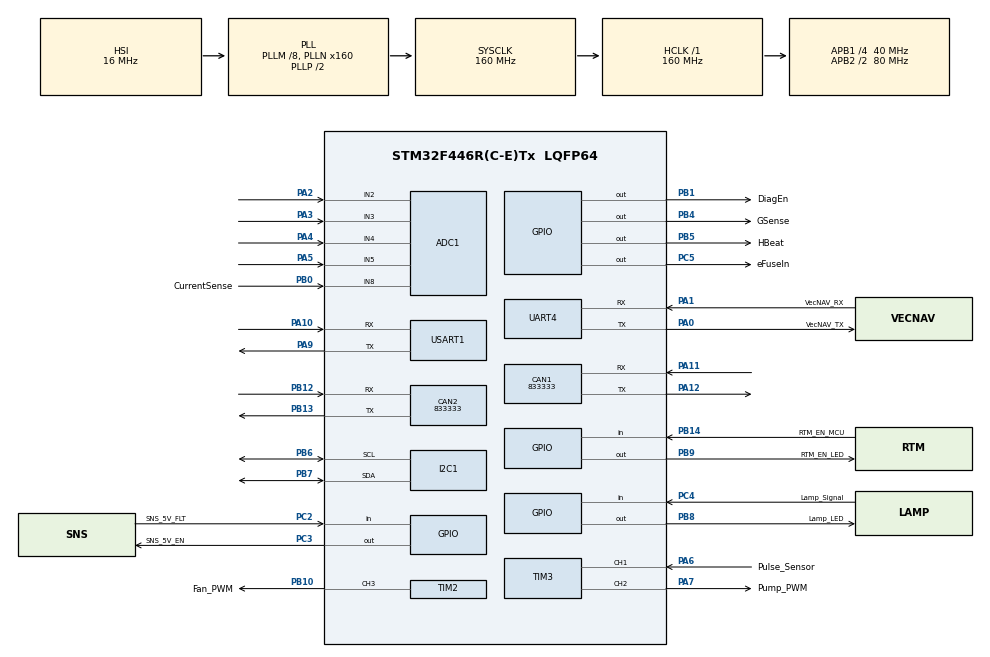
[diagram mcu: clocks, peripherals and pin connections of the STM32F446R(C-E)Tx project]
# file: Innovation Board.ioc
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ADC1.Channel-0\#ChannelRegularConversion=ADC_CHANNEL_8
ADC1.ClockPrescaler=ADC_CLOCK_SYNC_PCLK_DIV6
ADC1.ContinuousConvMode=ENABLE
ADC1.DMAContinuousRequests=ENABLE
ADC1.ExternalTrigConv=ADC_SOFTWARE_START
ADC1.InjNumberOfConversion=0
ADC1.NbrOfConversion=1
ADC1.NbrOfConversionFlag=1
ADC1.Rank-0\#ChannelRegularConversion=1
ADC1.SamplingTime-0\#ChannelRegularConversion=ADC_SAMPLETIME_480CYCLES
ADC1.ScanConvMode=DISABLE
ADC1.master=1
CAN1.BS1=CAN_BS1_1TQ
CAN1.BS2=CAN_BS2_1TQ
CAN1.CalculateBaudRate=833333
CAN1.CalculateTimeBit=1200
CAN1.CalculateTimeQuantum=400.0
CAN2.BS1=CAN_BS1_1TQ
CAN2.BS2=CAN_BS2_1TQ
CAN2.CalculateBaudRate=833333
CAN2.CalculateTimeBit=1200
CAN2.CalculateTimeQuantum=400.0
Dma.ADC1.1.Direction=DMA_PERIPH_TO_MEMORY
Dma.ADC1.1.FIFOMode=DMA_FIFOMODE_DISABLE
Dma.ADC1.1.Instance=DMA2_Stream0
Dma.ADC1.1.MemDataAlignment=DMA_MDATAALIGN_HALFWORD
Dma.ADC1.1.MemInc=DMA_MINC_ENABLE
Dma.ADC1.1.Mode=DMA_CIRCULAR
Dma.ADC1.1.PeriphDataAlignment=DMA_PDATAALIGN_HALFWORD
Dma.ADC1.1.PeriphInc=DMA_PINC_DISABLE
Dma.ADC1.1.Priority=DMA_PRIORITY_LOW
Dma.Request0=TIM3_CH1/TRIG
Dma.Request1=ADC1
Dma.TIM3_CH1/TRIG.0.Direction=DMA_PERIPH_TO_MEMORY
Dma.TIM3_CH1/TRIG.0.FIFOMode=DMA_FIFOMODE_DISABLE
Dma.TIM3_CH1/TRIG.0.Instance=DMA1_Stream4
Dma.TIM3_CH1/TRIG.0.MemDataAlignment=DMA_MDATAALIGN_HALFWORD
Dma.TIM3_CH1/TRIG.0.MemInc=DMA_MINC_ENABLE
Dma.TIM3_CH1/TRIG.0.Mode=DMA_CIRCULAR
Dma.TIM3_CH1/TRIG.0.PeriphDataAlignment=DMA_PDATAALIGN_HALFWORD
Dma.TIM3_CH1/TRIG.0.PeriphInc=DMA_PINC_DISABLE
Dma.TIM3_CH1/TRIG.0.Priority=DMA_PRIORITY_LOW
Mcu.Family=STM32F4
Mcu.Name=STM32F446R(C-E)Tx
Mcu.Package=LQFP64
NVIC.DMA1_Stream4_IRQn=true\:0\:0\:false\:false\:true\:false\:true\:true
NVIC.DMA2_Stream0_IRQn=true\:0\:0\:false\:false\:true\:false\:true\:true
NVIC.PriorityGroup=NVIC_PRIORITYGROUP_4
PA0-WKUP.GPIO_Label=VecNAV_TX
PA0-WKUP.Mode=Asynchronous
PA0-WKUP.Signal=UART4_TX
PA1.GPIO_Label=VecNAV_RX
PA1.Mode=Asynchronous
PA1.Signal=UART4_RX
PA10.Mode=Asynchronous
PA10.Signal=USART1_RX
PA11.Mode=CAN_Activate
PA11.Signal=CAN1_RX
PA12.Mode=CAN_Activate
PA12.Signal=CAN1_TX
PA13.Mode=Trace_Asynchronous_SW
PA13.Signal=SYS_JTMS-SWDIO
PA14.Mode=Trace_Asynchronous_SW
PA14.Signal=SYS_JTCK-SWCLK
PA2.Signal=ADCx_IN2
PA3.Signal=ADCx_IN3
PA4.Signal=ADCx_IN4
PA5.Signal=ADCx_IN5
PA6.GPIO_Label=Pulse_Sensor
PA6.Signal=S_TIM3_CH1
PA7.GPIO_Label=Pump_PWM
PA7.Signal=S_TIM3_CH2
PA9.Mode=Asynchronous
PA9.Signal=USART1_TX
PB0.GPIO_Label=CurrentSense
PB0.Signal=ADCx_IN8
PB1.GPIO_Label=DiagEn
PB1.Signal=GPIO_Output
PB10.GPIO_Label=Fan_PWM
PB10.Signal=S_TIM2_CH3
PB12.Mode=CAN_Activate
PB12.Signal=CAN2_RX
PB13.Mode=CAN_Activate
PB13.Signal=CAN2_TX
PB14.GPIO_Label=RTM_EN_MCU
PB14.Signal=GPIO_Input
PB3.Mode=Trace_Asynchronous_SW
PB3.Signal=SYS_JTDO-SWO
PB4.GPIO_Label=GSense
PB4.Signal=GPIO_Output
PB5.GPIO_Label=HBeat
PB5.Signal=GPIO_Output
PB6.Mode=I2C
PB6.Signal=I2C1_SCL
PB7.Mode=I2C
PB7.Signal=I2C1_SDA
PB8.GPIO_Label=Lamp_LED
PB8.Signal=GPIO_Output
PB9.GPIO_Label=RTM_EN_LED
PB9.Signal=GPIO_Output
PC10.Signal=SDIO_D2
PC12.Signal=SDIO_CK
PC14-OSC32_IN.Signal=RCC_OSC32_IN
PC2.GPIO_Label=SNS_5V_FLT
PC2.Signal=GPIO_Input
PC3.GPIO_Label=SNS_5V_EN
PC3.Signal=GPIO_Output
PC4.GPIO_Label=Lamp_Signal
PC4.Signal=GPIO_Input
PC5.GPIO_Label=eFuseIn
PC5.Signal=GPIO_Output
PC9.Signal=SDIO_D1
PH0-OSC_IN.Mode=HSE-External-Oscillator
PH0-OSC_IN.Signal=RCC_OSC_IN
PH1-OSC_OUT.Mode=HSE-External-Oscillator
PH1-OSC_OUT.Signal=RCC_OSC_OUT
ProjectManager.HeapSize=0x200
ProjectManager.StackSize=0x400
ProjectManager.TargetToolchain=STM32CubeIDE
RCC.AHBFreq_Value=160000000
RCC.APB1CLKDivider=RCC_HCLK_DIV4
RCC.APB1Freq_Value=40000000
RCC.APB1TimFreq_Value=80000000
RCC.APB2CLKDivider=RCC_HCLK_DIV2
RCC.APB2Freq_Value=80000000
RCC.APB2TimFreq_Value=160000000
RCC.CortexFreq_Value=160000000
RCC.HCLKFreq_Value=160000000
RCC.HSE_VALUE=24000000
RCC.PLLM=8
RCC.PLLN=160
RCC.PLLQ=7
RCC.SYSCLKFreq_VALUE=160000000
RCC.SYSCLKSource=RCC_SYSCLKSOURCE_PLLCLK
RCC.USBFreq_Value=45714285.71428572
RCC.VCOOutputFreq_Value=320000000
SH.ADCx_IN2.0=ADC1_IN2,IN2
SH.ADCx_IN3.0=ADC1_IN3,IN3
SH.ADCx_IN4.0=ADC1_IN4,IN4
SH.ADCx_IN5.0=ADC1_IN5,IN5
SH.ADCx_IN8.0=ADC1_IN8,IN8
SH.S_TIM2_CH3.0=TIM2_CH3,PWM Generation3 CH3
SH.S_TIM3_CH1.0=TIM3_CH1,Input_Capture1_from_TI1
SH.S_TIM3_CH2.0=TIM3_CH2,PWM Generation2 CH2
TIM2.Channel-PWM\ Generation3\ CH3=TIM_CHANNEL_3
TIM2.Period=999
TIM2.Prescaler=79
TIM2.TIM_MasterOutputTrigger=TIM_TRGO_UPDATE
TIM3.Channel-Input_Capture1_from_TI1=TIM_CHANNEL_1
TIM3.Channel-PWM\ Generation2\ CH2=TIM_CHANNEL_2
UART4.VirtualMode=Asynchronous
USART1.VirtualMode=VM_ASYNC
VP_TIM13_VS_ClockSourceINT.Mode=Enable_Timer
VP_TIM1_VS_ClockSourceITR.Mode=TriggerSource_ITR0
VP_TIM1_VS_ControllerModeClock.Mode=Clock Mode
VP_TIM2_VS_ClockSourceITR.Mode=TriggerSource_ITR0
VP_TIM2_VS_ControllerModeClock.Mode=Clock Mode
VP_TIM3_VS_ClockSourceINT.Mode=Internal
VP_TIM8_VS_ClockSourceINT.Mode=Internal
board=custom

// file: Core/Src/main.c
/* USER CODE BEGIN Header */
/**
  ******************************************************************************
  * @file           : main.c
  * @brief          : Main program body
  ******************************************************************************
  * @attention
  *
  * Copyright (c) 2025 STMicroelectronics.
  * All rights reserved.
  *
  * This software is licensed under terms that can be found in the LICENSE file
  * in the root directory of this software component.
  * If no LICENSE file comes with this software, it is provided AS-IS.
  *
  ******************************************************************************
  */
/* USER CODE END Header */
#include "main.h"

/* USER CODE BEGIN Includes */
#include "eFuse.h"
#include <stdint.h>
/* USER CODE END Includes */

/* USER CODE BEGIN PD */
#define EFUSE_TASK_PERIOD_MS 10
/* USER CODE END PD */

ADC_HandleTypeDef hadc1;
DMA_HandleTypeDef hdma_adc1;

CAN_HandleTypeDef hcan1;
CAN_HandleTypeDef hcan2;

I2C_HandleTypeDef hi2c1;

TIM_HandleTypeDef htim1;
TIM_HandleTypeDef htim2;
TIM_HandleTypeDef htim3;
TIM_HandleTypeDef htim8;
TIM_HandleTypeDef htim13;
DMA_HandleTypeDef hdma_tim3_ch1_trig;

UART_HandleTypeDef huart4;
UART_HandleTypeDef huart1;

/* USER CODE BEGIN PV */
volatile uint8_t eFuseEnable = 1;
/* USER CODE END PV */

void SystemClock_Config(void);
static void MX_GPIO_Init(void);
static void MX_DMA_Init(void);
static void MX_CAN1_Init(void);
static void MX_CAN2_Init(void);
static void MX_UART4_Init(void);
static void MX_USART1_UART_Init(void);
static void MX_ADC1_Init(void);
static void MX_I2C1_Init(void);
static void MX_TIM1_Init(void);
static void MX_TIM2_Init(void);
static void MX_TIM3_Init(void);
static void MX_TIM8_Init(void);
static void MX_TIM13_Init(void);

int main(void)
{

  /* MCU Configuration--------------------------------------------------------*/

  /* Reset of all peripherals, Initializes the Flash interface and the Systick. */
  HAL_Init();

  /* Configure the system clock */
  SystemClock_Config();

  /* Initialize all configured peripherals */
  MX_GPIO_Init();
  MX_DMA_Init();
  MX_CAN1_Init();
  MX_CAN2_Init();
  MX_UART4_Init();
  MX_USART1_UART_Init();
  MX_ADC1_Init();
  MX_I2C1_Init();
  MX_TIM1_Init();
  MX_TIM2_Init();
  MX_TIM3_Init();
  MX_TIM8_Init();
  MX_TIM13_Init();
  /* USER CODE BEGIN 2 */
  unsigned int last_led = 0;
  uint16_t last_eFuse = 0;
  initeFuseTask();
  HAL_GPIO_WritePin(eFuseIn_GPIO_Port, eFuseIn_Pin, 1);
  HAL_GPIO_WritePin(DiagEn_GPIO_Port, DiagEn_Pin, 1);
  /* USER CODE END 2 */

  /* Infinite loop */
  /* USER CODE BEGIN WHILE */
  while (1)
  {
	  uint32_t now = HAL_GetTick();

	  if(now - last_led >= 500) {
	  		HAL_GPIO_TogglePin(HBeat_GPIO_Port, HBeat_Pin);
	  		last_led = HAL_GetTick();
	  	}

	  if(now - last_eFuse >= EFUSE_TASK_PERIOD_MS){
		  last_eFuse = now;
		  HAL_GPIO_WritePin(eFuseIn_GPIO_Port, eFuseIn_Pin, eFuseEnable);
		  eFuseTask();
	  }
    /* USER CODE END WHILE */

  }
}

void SystemClock_Config(void)
{
  RCC_OscInitTypeDef RCC_OscInitStruct = {0};
  RCC_ClkInitTypeDef RCC_ClkInitStruct = {0};

  /** Configure the main internal regulator output voltage
  */
  __HAL_RCC_PWR_CLK_ENABLE();
  __HAL_PWR_VOLTAGESCALING_CONFIG(PWR_REGULATOR_VOLTAGE_SCALE1);

  /** Initializes the RCC Oscillators according to the specified parameters
  * in the RCC_OscInitTypeDef structure.
  */
  RCC_OscInitStruct.OscillatorType = RCC_OSCILLATORTYPE_HSI;
  RCC_OscInitStruct.HSIState = RCC_HSI_ON;
  RCC_OscInitStruct.HSICalibrationValue = RCC_HSICALIBRATION_DEFAULT;
  RCC_OscInitStruct.PLL.PLLState = RCC_PLL_ON;
  RCC_OscInitStruct.PLL.PLLSource = RCC_PLLSOURCE_HSI;
  RCC_OscInitStruct.PLL.PLLM = 8;
  RCC_OscInitStruct.PLL.PLLN = 160;
  RCC_OscInitStruct.PLL.PLLP = RCC_PLLP_DIV2;
  RCC_OscInitStruct.PLL.PLLQ = 7;
  RCC_OscInitStruct.PLL.PLLR = 2;
  if (HAL_RCC_OscConfig(&RCC_OscInitStruct) != HAL_OK)
  {
    Error_Handler();
  }

  /** Initializes the CPU, AHB and APB buses clocks
  */
  RCC_ClkInitStruct.ClockType = RCC_CLOCKTYPE_HCLK|RCC_CLOCKTYPE_SYSCLK
                              |RCC_CLOCKTYPE_PCLK1|RCC_CLOCKTYPE_PCLK2;
  RCC_ClkInitStruct.SYSCLKSource = RCC_SYSCLKSOURCE_PLLCLK;
  RCC_ClkInitStruct.AHBCLKDivider = RCC_SYSCLK_DIV1;
  RCC_ClkInitStruct.APB1CLKDivider = RCC_HCLK_DIV4;
  RCC_ClkInitStruct.APB2CLKDivider = RCC_HCLK_DIV2;

  if (HAL_RCC_ClockConfig(&RCC_ClkInitStruct, FLASH_LATENCY_5) != HAL_OK)
  {
    Error_Handler();
  }
}

static void MX_ADC1_Init(void)
{

  ADC_ChannelConfTypeDef sConfig = {0};

  /** Configure the global features of the ADC (Clock, Resolution, Data Alignment and number of conversion)
  */
  hadc1.Instance = ADC1;
  hadc1.Init.ClockPrescaler = ADC_CLOCK_SYNC_PCLK_DIV6;
  hadc1.Init.Resolution = ADC_RESOLUTION_12B;
  hadc1.Init.ScanConvMode = DISABLE;
  hadc1.Init.ContinuousConvMode = ENABLE;
  hadc1.Init.DiscontinuousConvMode = DISABLE;
  hadc1.Init.ExternalTrigConvEdge = ADC_EXTERNALTRIGCONVEDGE_NONE;
  hadc1.Init.ExternalTrigConv = ADC_SOFTWARE_START;
  hadc1.Init.DataAlign = ADC_DATAALIGN_RIGHT;
  hadc1.Init.NbrOfConversion = 1;
  hadc1.Init.DMAContinuousRequests = ENABLE;
  hadc1.Init.EOCSelection = ADC_EOC_SINGLE_CONV;
  if (HAL_ADC_Init(&hadc1) != HAL_OK)
  {
    Error_Handler();
  }

  /** Configure for the selected ADC regular channel its corresponding rank in the sequencer and its sample time.
  */
  sConfig.Channel = ADC_CHANNEL_8;
  sConfig.Rank = 1;
  sConfig.SamplingTime = ADC_SAMPLETIME_480CYCLES;
  if (HAL_ADC_ConfigChannel(&hadc1, &sConfig) != HAL_OK)
  {
    Error_Handler();
  }

}

static void MX_CAN1_Init(void)
{

  hcan1.Instance = CAN1;
  hcan1.Init.Prescaler = 16;
  hcan1.Init.Mode = CAN_MODE_NORMAL;
  hcan1.Init.SyncJumpWidth = CAN_SJW_1TQ;
  hcan1.Init.TimeSeg1 = CAN_BS1_1TQ;
  hcan1.Init.TimeSeg2 = CAN_BS2_1TQ;
  hcan1.Init.TimeTriggeredMode = DISABLE;
  hcan1.Init.AutoBusOff = DISABLE;
  hcan1.Init.AutoWakeUp = DISABLE;
  hcan1.Init.AutoRetransmission = DISABLE;
  hcan1.Init.ReceiveFifoLocked = DISABLE;
  hcan1.Init.TransmitFifoPriority = DISABLE;
  if (HAL_CAN_Init(&hcan1) != HAL_OK)
  {
    Error_Handler();
  }

}

static void MX_CAN2_Init(void)
{

  hcan2.Instance = CAN2;
  hcan2.Init.Prescaler = 16;
  hcan2.Init.Mode = CAN_MODE_NORMAL;
  hcan2.Init.SyncJumpWidth = CAN_SJW_1TQ;
  hcan2.Init.TimeSeg1 = CAN_BS1_1TQ;
  hcan2.Init.TimeSeg2 = CAN_BS2_1TQ;
  hcan2.Init.TimeTriggeredMode = DISABLE;
  hcan2.Init.AutoBusOff = DISABLE;
  hcan2.Init.AutoWakeUp = DISABLE;
  hcan2.Init.AutoRetransmission = DISABLE;
  hcan2.Init.ReceiveFifoLocked = DISABLE;
  hcan2.Init.TransmitFifoPriority = DISABLE;
  if (HAL_CAN_Init(&hcan2) != HAL_OK)
  {
    Error_Handler();
  }

}

static void MX_I2C1_Init(void)
{

  hi2c1.Instance = I2C1;
  hi2c1.Init.ClockSpeed = 100000;
  hi2c1.Init.DutyCycle = I2C_DUTYCYCLE_2;
  hi2c1.Init.OwnAddress1 = 0;
  hi2c1.Init.AddressingMode = I2C_ADDRESSINGMODE_7BIT;
  hi2c1.Init.DualAddressMode = I2C_DUALADDRESS_DISABLE;
  hi2c1.Init.OwnAddress2 = 0;
  hi2c1.Init.GeneralCallMode = I2C_GENERALCALL_DISABLE;
  hi2c1.Init.NoStretchMode = I2C_NOSTRETCH_DISABLE;
  if (HAL_I2C_Init(&hi2c1) != HAL_OK)
  {
    Error_Handler();
  }

}

static void MX_TIM1_Init(void)
{

  TIM_SlaveConfigTypeDef sSlaveConfig = {0};
  TIM_MasterConfigTypeDef sMasterConfig = {0};

  htim1.Instance = TIM1;
  htim1.Init.Prescaler = 0;
  htim1.Init.CounterMode = TIM_COUNTERMODE_UP;
  htim1.Init.Period = 65535;
  htim1.Init.ClockDivision = TIM_CLOCKDIVISION_DIV1;
  htim1.Init.RepetitionCounter = 0;
  htim1.Init.AutoReloadPreload = TIM_AUTORELOAD_PRELOAD_DISABLE;
  if (HAL_TIM_Base_Init(&htim1) != HAL_OK)
  {
    Error_Handler();
  }
  sSlaveConfig.SlaveMode = TIM_SLAVEMODE_EXTERNAL1;
  sSlaveConfig.InputTrigger = TIM_TS_ITR0;
  if (HAL_TIM_SlaveConfigSynchro(&htim1, &sSlaveConfig) != HAL_OK)
  {
    Error_Handler();
  }
  sMasterConfig.MasterOutputTrigger = TIM_TRGO_RESET;
  sMasterConfig.MasterSlaveMode = TIM_MASTERSLAVEMODE_DISABLE;
  if (HAL_TIMEx_MasterConfigSynchronization(&htim1, &sMasterConfig) != HAL_OK)
  {
    Error_Handler();
  }

}

static void MX_TIM2_Init(void)
{

  TIM_SlaveConfigTypeDef sSlaveConfig = {0};
  TIM_MasterConfigTypeDef sMasterConfig = {0};
  TIM_OC_InitTypeDef sConfigOC = {0};

  htim2.Instance = TIM2;
  htim2.Init.Prescaler = 79;
  htim2.Init.CounterMode = TIM_COUNTERMODE_UP;
  htim2.Init.Period = 999;
  htim2.Init.ClockDivision = TIM_CLOCKDIVISION_DIV1;
  htim2.Init.AutoReloadPreload = TIM_AUTORELOAD_PRELOAD_DISABLE;
  if (HAL_TIM_Base_Init(&htim2) != HAL_OK)
  {
    Error_Handler();
  }
  if (HAL_TIM_PWM_Init(&htim2) != HAL_OK)
  {
    Error_Handler();
  }
  sSlaveConfig.SlaveMode = TIM_SLAVEMODE_EXTERNAL1;
  sSlaveConfig.InputTrigger = TIM_TS_ITR0;
  if (HAL_TIM_SlaveConfigSynchro(&htim2, &sSlaveConfig) != HAL_OK)
  {
    Error_Handler();
  }
  sMasterConfig.MasterOutputTrigger = TIM_TRGO_UPDATE;
  sMasterConfig.MasterSlaveMode = TIM_MASTERSLAVEMODE_DISABLE;
  if (HAL_TIMEx_MasterConfigSynchronization(&htim2, &sMasterConfig) != HAL_OK)
  {
    Error_Handler();
  }
  sConfigOC.OCMode = TIM_OCMODE_PWM1;
  sConfigOC.Pulse = 0;
  sConfigOC.OCPolarity = TIM_OCPOLARITY_HIGH;
  sConfigOC.OCFastMode = TIM_OCFAST_DISABLE;
  if (HAL_TIM_PWM_ConfigChannel(&htim2, &sConfigOC, TIM_CHANNEL_3) != HAL_OK)
  {
    Error_Handler();
  }
  HAL_TIM_MspPostInit(&htim2);

}

static void MX_TIM3_Init(void)
{

  TIM_ClockConfigTypeDef sClockSourceConfig = {0};
  TIM_MasterConfigTypeDef sMasterConfig = {0};
  TIM_IC_InitTypeDef sConfigIC = {0};
  TIM_OC_InitTypeDef sConfigOC = {0};

  htim3.Instance = TIM3;
  htim3.Init.Prescaler = 0;
  htim3.Init.CounterMode = TIM_COUNTERMODE_UP;
  htim3.Init.Period = 65535;
  htim3.Init.ClockDivision = TIM_CLOCKDIVISION_DIV1;
  htim3.Init.AutoReloadPreload = TIM_AUTORELOAD_PRELOAD_DISABLE;
  if (HAL_TIM_Base_Init(&htim3) != HAL_OK)
  {
    Error_Handler();
  }
  sClockSourceConfig.ClockSource = TIM_CLOCKSOURCE_INTERNAL;
  if (HAL_TIM_ConfigClockSource(&htim3, &sClockSourceConfig) != HAL_OK)
  {
    Error_Handler();
  }
  if (HAL_TIM_IC_Init(&htim3) != HAL_OK)
  {
    Error_Handler();
  }
  if (HAL_TIM_PWM_Init(&htim3) != HAL_OK)
  {
    Error_Handler();
  }
  sMasterConfig.MasterOutputTrigger = TIM_TRGO_RESET;
  sMasterConfig.MasterSlaveMode = TIM_MASTERSLAVEMODE_DISABLE;
  if (HAL_TIMEx_MasterConfigSynchronization(&htim3, &sMasterConfig) != HAL_OK)
  {
    Error_Handler();
  }
  sConfigIC.ICPolarity = TIM_INPUTCHANNELPOLARITY_RISING;
  sConfigIC.ICSelection = TIM_ICSELECTION_DIRECTTI;
  sConfigIC.ICPrescaler = TIM_ICPSC_DIV1;
  sConfigIC.ICFilter = 0;
  if (HAL_TIM_IC_ConfigChannel(&htim3, &sConfigIC, TIM_CHANNEL_1) != HAL_OK)
  {
    Error_Handler();
  }
  sConfigOC.OCMode = TIM_OCMODE_PWM1;
  sConfigOC.Pulse = 0;
  sConfigOC.OCPolarity = TIM_OCPOLARITY_HIGH;
  sConfigOC.OCFastMode = TIM_OCFAST_DISABLE;
  if (HAL_TIM_PWM_ConfigChannel(&htim3, &sConfigOC, TIM_CHANNEL_2) != HAL_OK)
  {
    Error_Handler();
  }
  HAL_TIM_MspPostInit(&htim3);

}

static void MX_TIM8_Init(void)
{

  TIM_ClockConfigTypeDef sClockSourceConfig = {0};
  TIM_MasterConfigTypeDef sMasterConfig = {0};

  htim8.Instance = TIM8;
  htim8.Init.Prescaler = 0;
  htim8.Init.CounterMode = TIM_COUNTERMODE_UP;
  htim8.Init.Period = 65535;
  htim8.Init.ClockDivision = TIM_CLOCKDIVISION_DIV1;
  htim8.Init.RepetitionCounter = 0;
  htim8.Init.AutoReloadPreload = TIM_AUTORELOAD_PRELOAD_DISABLE;
  if (HAL_TIM_Base_Init(&htim8) != HAL_OK)
  {
    Error_Handler();
  }
  sClockSourceConfig.ClockSource = TIM_CLOCKSOURCE_INTERNAL;
  if (HAL_TIM_ConfigClockSource(&htim8, &sClockSourceConfig) != HAL_OK)
  {
    Error_Handler();
  }
  sMasterConfig.MasterOutputTrigger = TIM_TRGO_RESET;
  sMasterConfig.MasterSlaveMode = TIM_MASTERSLAVEMODE_DISABLE;
  if (HAL_TIMEx_MasterConfigSynchronization(&htim8, &sMasterConfig) != HAL_OK)
  {
    Error_Handler();
  }

}

static void MX_TIM13_Init(void)
{

  htim13.Instance = TIM13;
  htim13.Init.Prescaler = 0;
  htim13.Init.CounterMode = TIM_COUNTERMODE_UP;
  htim13.Init.Period = 65535;
  htim13.Init.ClockDivision = TIM_CLOCKDIVISION_DIV1;
  htim13.Init.AutoReloadPreload = TIM_AUTORELOAD_PRELOAD_DISABLE;
  if (HAL_TIM_Base_Init(&htim13) != HAL_OK)
  {
    Error_Handler();
  }

}

static void MX_UART4_Init(void)
{

  huart4.Instance = UART4;
  huart4.Init.BaudRate = 115200;
  huart4.Init.WordLength = UART_WORDLENGTH_8B;
  huart4.Init.StopBits = UART_STOPBITS_1;
  huart4.Init.Parity = UART_PARITY_NONE;
  huart4.Init.Mode = UART_MODE_TX_RX;
  huart4.Init.HwFlowCtl = UART_HWCONTROL_NONE;
  huart4.Init.OverSampling = UART_OVERSAMPLING_16;
  if (HAL_UART_Init(&huart4) != HAL_OK)
  {
    Error_Handler();
  }

}

static void MX_USART1_UART_Init(void)
{

  huart1.Instance = USART1;
  huart1.Init.BaudRate = 115200;
  huart1.Init.WordLength = UART_WORDLENGTH_8B;
  huart1.Init.StopBits = UART_STOPBITS_1;
  huart1.Init.Parity = UART_PARITY_NONE;
  huart1.Init.Mode = UART_MODE_TX_RX;
  huart1.Init.HwFlowCtl = UART_HWCONTROL_NONE;
  huart1.Init.OverSampling = UART_OVERSAMPLING_16;
  if (HAL_UART_Init(&huart1) != HAL_OK)
  {
    Error_Handler();
  }

}

static void MX_DMA_Init(void)
{

  /* DMA controller clock enable */
  __HAL_RCC_DMA1_CLK_ENABLE();
  __HAL_RCC_DMA2_CLK_ENABLE();

  /* DMA interrupt init */
  /* DMA1_Stream4_IRQn interrupt configuration */
  HAL_NVIC_SetPriority(DMA1_Stream4_IRQn, 0, 0);
  HAL_NVIC_EnableIRQ(DMA1_Stream4_IRQn);
  /* DMA2_Stream0_IRQn interrupt configuration */
  HAL_NVIC_SetPriority(DMA2_Stream0_IRQn, 0, 0);
  HAL_NVIC_EnableIRQ(DMA2_Stream0_IRQn);

}

static void MX_GPIO_Init(void)
{
  GPIO_InitTypeDef GPIO_InitStruct = {0};

  /* GPIO Ports Clock Enable */
  __HAL_RCC_GPIOC_CLK_ENABLE();
  __HAL_RCC_GPIOH_CLK_ENABLE();
  __HAL_RCC_GPIOA_CLK_ENABLE();
  __HAL_RCC_GPIOB_CLK_ENABLE();

  /*Configure GPIO pin Output Level */
  HAL_GPIO_WritePin(GPIOC, SNS_5V_EN_Pin|eFuseIn_Pin, GPIO_PIN_RESET);

  /*Configure GPIO pin Output Level */
  HAL_GPIO_WritePin(GPIOB, DiagEn_Pin|GSense_Pin|HBeat_Pin|Lamp_LED_Pin
                          |RTM_EN_LED_Pin, GPIO_PIN_RESET);

  /*Configure GPIO pins : SNS_5V_FLT_Pin Lamp_Signal_Pin */
  GPIO_InitStruct.Pin = SNS_5V_FLT_Pin|Lamp_Signal_Pin;
  GPIO_InitStruct.Mode = GPIO_MODE_INPUT;
  GPIO_InitStruct.Pull = GPIO_NOPULL;
  HAL_GPIO_Init(GPIOC, &GPIO_InitStruct);

  /*Configure GPIO pins : SNS_5V_EN_Pin eFuseIn_Pin */
  GPIO_InitStruct.Pin = SNS_5V_EN_Pin|eFuseIn_Pin;
  GPIO_InitStruct.Mode = GPIO_MODE_OUTPUT_PP;
  GPIO_InitStruct.Pull = GPIO_NOPULL;
  GPIO_InitStruct.Speed = GPIO_SPEED_FREQ_LOW;
  HAL_GPIO_Init(GPIOC, &GPIO_InitStruct);

  /*Configure GPIO pins : DiagEn_Pin GSense_Pin HBeat_Pin Lamp_LED_Pin
                           RTM_EN_LED_Pin */
  GPIO_InitStruct.Pin = DiagEn_Pin|GSense_Pin|HBeat_Pin|Lamp_LED_Pin
                          |RTM_EN_LED_Pin;
  GPIO_InitStruct.Mode = GPIO_MODE_OUTPUT_PP;
  GPIO_InitStruct.Pull = GPIO_NOPULL;
  GPIO_InitStruct.Speed = GPIO_SPEED_FREQ_LOW;
  HAL_GPIO_Init(GPIOB, &GPIO_InitStruct);

  /*Configure GPIO pin : RTM_EN_MCU_Pin */
  GPIO_InitStruct.Pin = RTM_EN_MCU_Pin;
  GPIO_InitStruct.Mode = GPIO_MODE_INPUT;
  GPIO_InitStruct.Pull = GPIO_NOPULL;
  HAL_GPIO_Init(RTM_EN_MCU_GPIO_Port, &GPIO_InitStruct);

  /*Configure GPIO pins : PC9 PC10 PC12 */
  GPIO_InitStruct.Pin = GPIO_PIN_9|GPIO_PIN_10|GPIO_PIN_12;
  GPIO_InitStruct.Mode = GPIO_MODE_AF_PP;
  GPIO_InitStruct.Pull = GPIO_NOPULL;
  GPIO_InitStruct.Speed = GPIO_SPEED_FREQ_VERY_HIGH;
  GPIO_InitStruct.Alternate = GPIO_AF12_SDIO;
  HAL_GPIO_Init(GPIOC, &GPIO_InitStruct);

}

void Error_Handler(void)
{
  /* USER CODE BEGIN Error_Handler_Debug */
  /* User can add his own implementation to report the HAL error return state */
  __disable_irq();
  while (1)
  {
	  HAL_GPIO_WritePin(Lamp_LED_GPIO_Port, Lamp_LED_Pin, 1);
  }
  /* USER CODE END Error_Handler_Debug */
}
